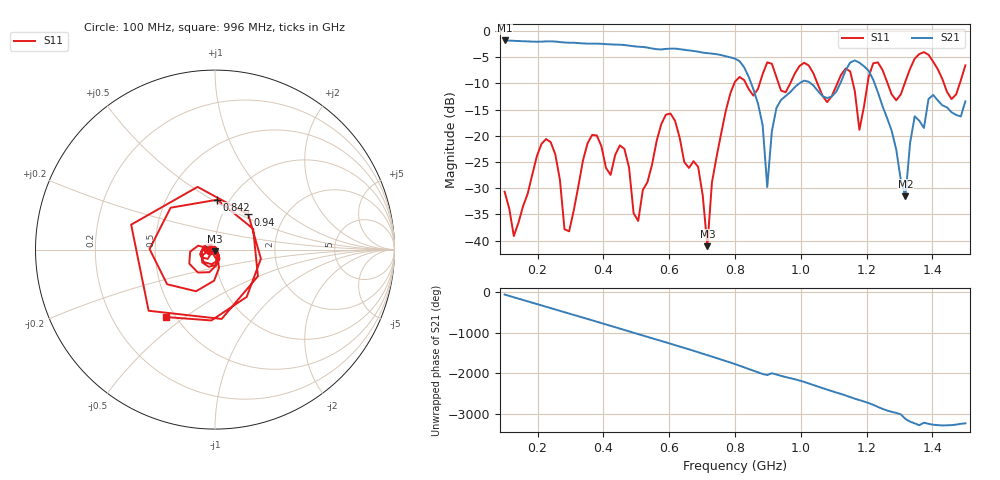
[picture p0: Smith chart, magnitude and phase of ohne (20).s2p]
! NanoVNA-App
! Date: 2025-09-25 14:20:57
! Start: 100MHz Stop: 1,5GHz Points: 101
! S-Parameter data: F S11 S21 S12 S22
# Hz S RI R 50
!  Frequency  S11_Real  S11_Imag  S21_Real  S21_Imag  S12_Real  S12_Imag  S22_Real  S22_Imag
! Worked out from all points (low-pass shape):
!   101 points, 100 MHz to 1.5 GHz, reference 50 ohm
!   highest |S21| = -1.79 dB at 100 MHz (marker M1); lowest = -31.5 dB at 1.318 GHz (marker M2)
!   |S21| within 3 dB of the highest: start of sweep to 771.4 MHz
!   lowest |S11| = -41.0 dB at 716 MHz (marker M3), VSWR 1.02, Z = 49.7 - j0.847 ohm
!   |S11| at or under -10 dB: start of sweep to 797.8 MHz; 833.1 MHz to 875.1 MHz (42 MHz wide, 4.92 % of centre); 1.051 GHz to 1.111 GHz (60.36 MHz wide, 5.59 % of centre) (the widest 3 of 7)
!   S12 and S22 are empty: the file has one direction only
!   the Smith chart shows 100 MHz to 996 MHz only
!   S11 on the Smith chart (normalised r, x): 100 MHz: 0.94, -0.01; 842 MHz: 0.88, +0.53; 940 MHz: 1.32, +0.56; 996 MHz: 0.45, -0.43
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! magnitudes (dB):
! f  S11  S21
! 100 MHz  -30.6  -1.8
! 128 MHz  -39.1  -1.9
! 226 MHz  -20.6  -2.0
! 296 MHz  -38.2  -2.2
! 338 MHz  -24.7  -2.4
! 464 MHz  -22.5  -2.7
! 506 MHz  -36.2  -3.0
! 576 MHz  -17.8  -3.5
! 688 MHz  -25.9  -3.9
! 716 MHz  -41.0  -4.2
! 800 MHz  -9.6  -5.3
! 842 MHz  -11.1  -8.8
! 898 MHz  -6.0  -29.8
! 940 MHz  -11.4  -13.1
! 996 MHz  -6.7  -9.9
! 1.038 GHz  -8.0  -10.4
! 1.178 GHz  -18.9  -6.0
! 1.22 GHz  -6.2  -9.3
! 1.276 GHz  -12.1  -19.0
! 1.318 GHz  -9.6  -31.5
! 1.346 GHz  -5.3  -16.3
! 1.5 GHz  -6.5  -13.4
